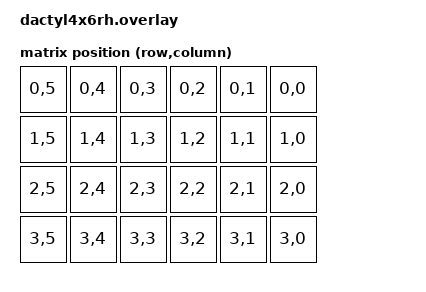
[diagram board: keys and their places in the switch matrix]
#include "../dactyl/dactyl_solo.dtsi"

/ {
    solo_transform: keymap_transform_solo {
        compatible = "zmk,matrix-transform";
        columns = <6>;
        rows = <4>;
        /* Right PCB counts columns from the outside: reversed to get reading order. */
        map = <
            RC(0,5) RC(0,4) RC(0,3) RC(0,2) RC(0,1) RC(0,0)
            RC(1,5) RC(1,4) RC(1,3) RC(1,2) RC(1,1) RC(1,0)
            RC(2,5) RC(2,4) RC(2,3) RC(2,2) RC(2,1) RC(2,0)
            RC(3,5) RC(3,4) RC(3,3) RC(3,2) RC(3,1) RC(3,0)
        >;
    };
};
